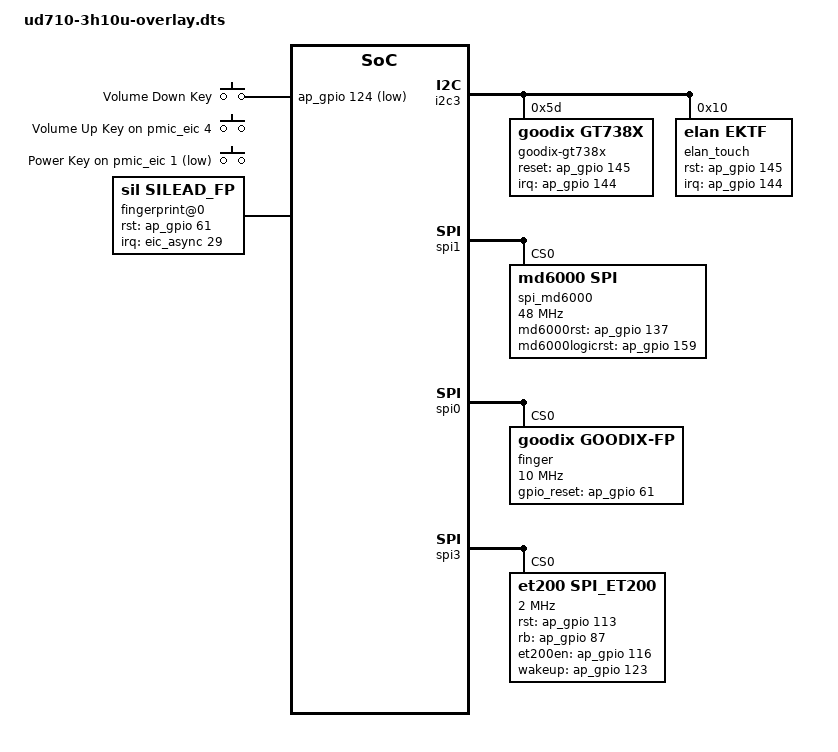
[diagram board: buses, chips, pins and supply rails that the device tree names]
/dts-v1/;
/plugin/;

#include <dt-bindings/input/input.h>
#include <dt-bindings/gpio/gpio.h>

/ {
	fragment {
		target-path = "/";
		__overlay__ {

			gpio-keys {
				compatible = "gpio-keys";

				key-volumedown {
					label = "Volume Down Key";
					linux,code = <KEY_VOLUMEDOWN>;
					gpios = <&ap_gpio 124 GPIO_ACTIVE_LOW>;
					debounce-interval = <2>;
					wakeup-source;
				};

				key-volumeup {
					label = "Volume Up Key";
					linux,code = <KEY_VOLUMEUP>;
					gpios = <&pmic_eic 4 GPIO_ACTIVE_HIGH>;
					debounce-interval = <2>;
					wakeup-source;
				};

				key-power {
					label = "Power Key";
					linux,code = <KEY_POWER>;
					gpios = <&pmic_eic 1 GPIO_ACTIVE_LOW>;
					debounce-interval = <2>;
					wakeup-source;
				};
        };       
        fingerprint@0 {
				compatible = "sil,silead_fp";
				rst-gpios = <&ap_gpio 61 0>;
				irq-gpios = <&eic_async 29 0 >;
			};

/*
			pwm_backlight: sprd_backlight {
				compatible = "sprd,roc1-backlight";
				pwms = <&pwms 0 40000>;
				pwm-names = "backlight";
				sprd,max-brightness-level = <880>;
				default-brightness-level = <250>;
				sprd,brightness-scale = <1023>;
				brightness-levels = <
							  0   3   4   5   6   7
					  8   9  10  11  12  13  14  15  16  17
					 18  19  20  21  22  23  24  25  26  27
					 28  29  31  33  35  37  39  41  43  45
					 46  48  50  52  54  56  58  60  62  64
					 66  68  70  72  74  76  78  80  82  84
					 86  88  90  92  94  96  98 100 102 104
					106 108 110 112 114 116 118 120 122 124
					126 128 130 132 134 136 138 140 142 144
					146 148 150 152 154 156 158 160 162 164
					166 169 172 175 178 181 184 187 190 193
					196 199 202 205 208 211 214 217 220 223
					226 229 232 235 238 241 244 247 250 253
					256 259 262 265 268 271 274 277 280 283
					286 290 294 298 302 306 310 314 318 322
					326 330 334 338 342 346 350 354 358 362
					366 370 374 378 382 386 390 394 398 402
					406 410 414 418 422 426 430 434 438 442
					446 451 456 461 466 471 476 481 486 491
					496 501 506 511 516 521 526 531 536 541
					546 551 556 561 566 571 576 581 586 591
					596 601 606 611 616 621 626 631 636 641
					646 652 658 664 670 676 682 688 694 700
					706 712 718 724 730 736 742 748 754 760
					766 772 778 784 790 796 802 808 814 820
					826 832 838 844 850 856 862 868 874 880
					>;
			};
*/
		};
	};
};

&i2c3 {
    status = "okay";

    goodix-gt738x@5d {
        compatible = "goodix,gt738x";
        status = "okay";
        reg = <0x5d>;
        goodix,reset-gpio = <&ap_gpio 145 0>;
        goodix,irq-gpio = <&ap_gpio 144 0x2800>;
        goodix,irq-flags = <2>; /* 1:trigger rising, 2:trigger falling;*/
        goodix,panel-max-x = <1728>;
        goodix,panel-max-y = <2368>;
        goodix,panel-max-w = <255>;
    };
    elan_touch: elan_ktf@10 {
                compatible = "elan,ektf";
                status = "okay";
                reg = <0x10>;
                elan,rst-gpio = <&ap_gpio 145 0>;
                elan,irq-gpio = <&ap_gpio 144 0x2800>;
                chip_type = <0x01>;		/*1:HID IIC, 0: NORMAL IIC*/
                report_type = <0x00>;	/*1:B protocol, 0:A protocol*/
            };

};

&spi1 {
	status = "okay";

	spi_md6000@0 {
        	status = "okay";
        	reg = <0>;
        	compatible = "md6000,spi";
            md6000rst-gpio = <&ap_gpio 137 0>;
            md6000logicrst-gpio = <&ap_gpio 159 0>;
            spi-max-frequency = <48000000>; 
    };

};
&spi0 {
	/*used for fingerprint sensor*/
    status = "okay";
    finger@0 {
        compatible = "goodix,goodix-fp";
        reg = <0>;
        spi-max-frequency = <10000000>;	
        gx,gpio_reset = <&ap_gpio 61 0>;
        gx,gpio_irq = <&eic_async 29 0>;
        status = "okay";
    }; 
};
&spi3 {
    status = "okay";
    et200@0 {
        status = "okay";
        reg = <0>;
        compatible = "et200,spi_et200";
        et200,rst-gpio = <&ap_gpio 113 0>;
        et200,rb-gpio = <&ap_gpio 87 0>;
        et200en-gpios = <&ap_gpio 116 0>;
        et200,wakeup-gpio = <&ap_gpio 123 0>;
        spi-max-frequency = <2000000>;
    };
};
/*
&panel {
	sprd,backlight = <&pwm_backlight>;
};

&dpu {
	sprd,backlight = <&pwm_backlight>;
};

*/
&ddr_dfs {
	sprd-scene = "boost", "lcdon", "lcdoff", "camlow",
		"camhigh", "camveryhigh";
	sprd-freq = <1333 768 256 384 667 1536>;
};
